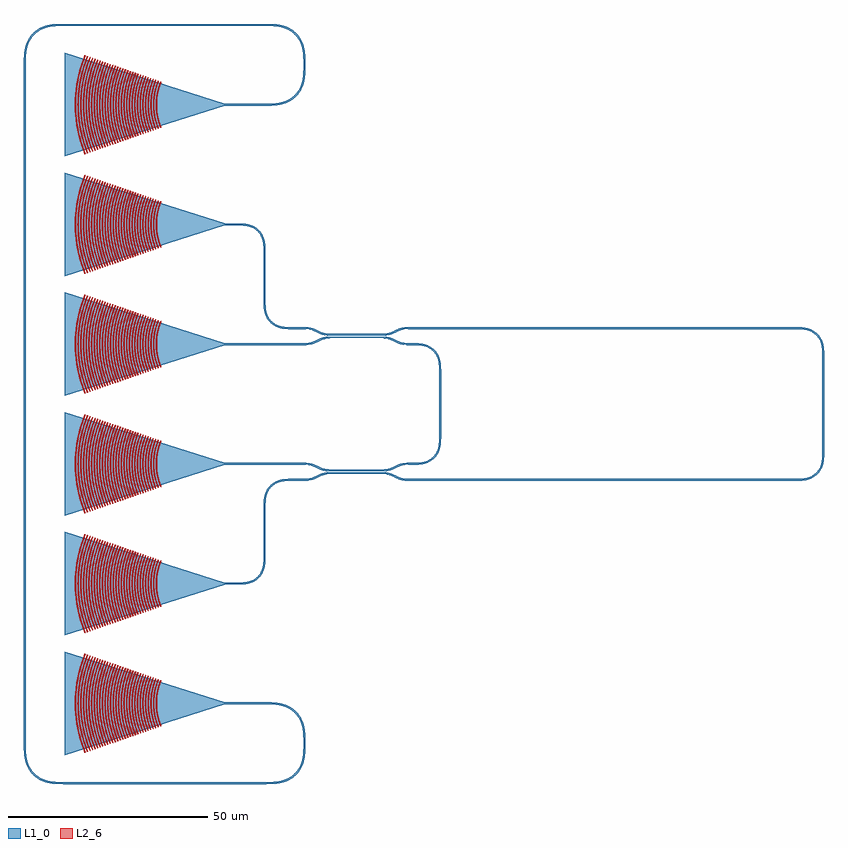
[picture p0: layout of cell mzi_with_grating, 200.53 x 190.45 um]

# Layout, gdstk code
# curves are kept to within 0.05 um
from math import pi, radians
import gdstk
lib = gdstk.Library(unit=1e-6, precision=1e-09)
def R(c, l, rs):  # rectangles x0, y0, x1, y1
    for r in rs: c.add(gdstk.rectangle(r[:2], r[2:], *l))
def P(c, l, *ps):  # polygons
    for p in ps: c.add(gdstk.Polygon(p, *l))
L1_0 = (1, 0)
L2_6 = (2, 6)

coupler_gdsfactorypcompo = lib.new_cell('coupler_gdsfactorypcomponentspcouplerspcoupler_G0p25_L1_32f57605')
P(coupler_gdsfactorypcompo, L1_0, [(-6.5,-1.875),(-6.5,-1.425),(-5.547,-1.369),(-4.788,-1.221),(-4.107,-0.985),(-2.028,-0.053),(-1.171,0.143),(-0.2,0.223),(13.755,0.193),(14.477,0.089),(15.277,-0.136),(17.003,-0.94),(17.726,-1.204),(18.547,-1.369),(19.5,-1.425),(19.5,-1.875),(18.023,-1.739),(16.989,-1.423),(15.067,-0.539),(14.387,-0.352),(13.547,-0.242),(-0.19,-0.227),(-1.103,-0.302),(-1.894,-0.482),(-3.876,-1.376),(-4.738,-1.673),(-5.574,-1.826)],
  [(0,0.475),(-0.926,0.524),(-1.762,0.677),(-2.624,0.974),(-4.606,1.868),(-5.471,2.059),(-6.5,2.125),(-6.5,2.575),(-5.574,2.526),(-4.738,2.373),(-3.876,2.076),(-1.894,1.182),(-1.029,0.991),(0,0.925),(13.632,0.948),(14.387,1.052),(15.067,1.239),(16.876,2.076),(17.67,2.355),(18.574,2.526),(19.5,2.575),(19.5,2.125),(18.547,2.069),(17.726,1.904),(17.003,1.64),(15.277,0.836),(13.926,0.524),(13,0.475)])

unnamed_7 = lib.new_cell('Unnamed_7')
P(unnamed_7, L1_0, [(19.5,-31.875),(19.5,-31.425),(21.589,-31.411),(22.927,-31.287),(24.025,-31.002),(25.111,-30.434),(25.893,-29.748),(26.608,-28.727),(27.02,-27.635),(27.212,-26.508),(27.275,-24.765),(27.273,-8.144),(27.229,-6.983),(27.103,-6.036),(26.784,-4.951),(26.284,-4.039),(25.598,-3.257),(24.577,-2.542),(23.667,-2.18),(22.549,-1.959),(19.5,-1.875),(19.5,-1.425),(22.402,-1.49),(23.399,-1.647),(24.181,-1.876),(24.985,-2.253),(25.731,-2.775),(26.375,-3.419),(26.897,-4.165),(27.274,-4.969),(27.545,-5.949),(27.677,-6.947),(27.723,-8.14),(27.725,-24.765),(27.66,-26.552),(27.402,-27.943),(26.897,-29.135),(26.225,-30.052),(25.731,-30.525),(25.18,-30.929),(24.181,-31.424),(23.002,-31.731),(21.804,-31.853)])

unnamed_8 = lib.new_cell('Unnamed_8')
P(unnamed_8, L1_0, [(19.5,-35.875),(19.5,-35.425),(117.975,-35.393),(119.3,-35.214),(120.39,-34.85),(121.441,-34.18),(122.16,-33.429),(122.7,-32.54),(123.02,-31.635),(123.229,-30.317),(123.275,-28.765),(123.275,-4.535),(123.191,-2.601),(122.852,-1.125),(122.608,-0.573),(122.16,0.129),(121.749,0.599),(121.111,1.134),(120.39,1.55),(119.667,1.82),(118.358,2.062),(116.615,2.125),(19.5,2.125),(19.5,2.575),(117.605,2.561),(118.602,2.488),(119.597,2.306),(120.372,2.049),(121.18,1.629),(121.902,1.075),(122.518,0.403),(123.007,-0.365),(123.342,-1.162),(123.612,-2.348),(123.721,-3.942),(123.725,-28.765),(123.66,-30.552),(123.503,-31.549),(123.274,-32.331),(122.897,-33.135),(122.518,-33.703),(121.902,-34.375),(121.369,-34.802),(120.785,-35.157),(119.988,-35.492),(118.602,-35.788),(116.615,-35.875)])

folded_mzi_dc_length_13 = lib.new_cell('folded_mzi_dc_length_13')
folded_mzi_dc_length_13.add(gdstk.Reference(coupler_gdsfactorypcompo, (0,0)))
folded_mzi_dc_length_13.add(gdstk.Reference(unnamed_7, (0,0)))
folded_mzi_dc_length_13.add(gdstk.Reference(coupler_gdsfactorypcompo, (0,-34)))
folded_mzi_dc_length_13.add(gdstk.Reference(unnamed_8, (0,0)))

grating_coupler_elliptic = lib.new_cell('grating_coupler_elliptical_trenches_gdsfactorypcomponen_c91c3207')
P(grating_coupler_elliptic, L1_0, [(40.551,-12.973),(0.471,-0.25),(0.471,0.25),(40.551,12.973)])
P(grating_coupler_elliptic, L2_6, [(16.414,-5.811),(16.3,-5.646),(16.82,-4.153),(17.178,-2.617),(17.351,-1.313),(17.409,0),(17.351,1.313),(17.178,2.617),(16.82,4.153),(16.3,5.646),(16.414,5.811),(16.61,5.77),(16.981,4.76),(17.344,3.465),(17.658,1.611),(17.743,0),(17.658,-1.611),(17.344,-3.465),(16.981,-4.76),(16.61,-5.77)],
  [(17.047,-6.03),(16.933,-5.866),(17.473,-4.315),(17.845,-2.718),(18.025,-1.364),(18.085,0),(18.025,1.364),(17.845,2.718),(17.473,4.315),(16.933,5.866),(17.047,6.03),(17.243,5.988),(17.444,5.469),(17.793,4.407),(18.066,3.325),(18.33,1.671),(18.419,0),(18.33,-1.671),(18.066,-3.325),(17.793,-4.407),(17.444,-5.469),(17.243,-5.988)],
  [(17.68,-6.25),(17.566,-6.086),(18.126,-4.477),(18.512,-2.82),(18.699,-1.415),(18.761,0),(18.699,1.415),(18.512,2.82),(18.126,4.477),(17.566,6.086),(17.68,6.25),(17.876,6.208),(17.982,5.94),(18.363,4.846),(18.665,3.729),(19.003,1.733),(19.095,0),(19.003,-1.733),(18.665,-3.729),(18.363,-4.846),(17.982,-5.94),(17.876,-6.208)],
  [(18.313,-6.469),(18.199,-6.304),(18.779,-4.638),(19.179,-2.922),(19.373,-1.466),(19.437,0),(19.373,1.466),(19.179,2.922),(18.779,4.638),(18.199,6.304),(18.313,6.469),(18.509,6.428),(18.619,6.15),(19.013,5.018),(19.326,3.861),(19.676,1.794),(19.771,0),(19.676,-1.794),(19.326,-3.861),(19.013,-5.018),(18.619,-6.15),(18.509,-6.428)],
  [(18.946,-6.689),(18.832,-6.525),(19.432,-4.8),(19.846,-3.024),(20.046,-1.517),(20.113,0),(20.046,1.517),(19.846,3.024),(19.432,4.8),(18.832,6.525),(18.946,6.689),(19.142,6.647),(19.365,6.07),(19.752,4.892),(20.055,3.69),(20.349,1.855),(20.447,0),(20.349,-1.855),(20.055,-3.69),(19.752,-4.892),(19.365,-6.07),(19.142,-6.647)],
  [(19.579,-6.908),(19.465,-6.744),(20.085,-4.961),(20.513,-3.125),(20.72,-1.568),(20.789,0),(20.72,1.568),(20.513,3.125),(20.085,4.961),(19.465,6.744),(19.579,6.908),(19.775,6.866),(20.005,6.27),(20.405,5.053),(20.718,3.812),(21.021,1.917),(21.123,0),(21.021,-1.917),(20.718,-3.812),(20.405,-5.053),(20.005,-6.27),(19.775,-6.866)],
  [(20.212,-7.128),(20.098,-6.964),(20.738,-5.123),(21.18,-3.227),(21.394,-1.619),(21.465,0),(21.394,1.619),(21.18,3.227),(20.738,5.123),(20.098,6.964),(20.212,7.128),(20.408,7.086),(20.646,6.471),(21.058,5.215),(21.381,3.934),(21.694,1.978),(21.799,0),(21.694,-1.978),(21.381,-3.934),(21.058,-5.215),(20.646,-6.471),(20.408,-7.086)],
  [(20.844,-7.347),(20.73,-7.182),(21.391,-5.284),(21.847,-3.329),(22.068,-1.67),(22.141,0),(22.068,1.67),(21.847,3.329),(21.391,5.284),(20.73,7.182),(20.844,7.347),(21.04,7.306),(21.286,6.672),(21.711,5.376),(22.044,4.056),(22.367,2.039),(22.475,0),(22.367,-2.039),(22.044,-4.056),(21.711,-5.376),(21.286,-6.672),(21.04,-7.306)],
  [(21.477,-7.567),(21.363,-7.402),(22.044,-5.446),(22.514,-3.431),(22.741,-1.721),(22.817,0),(22.741,1.721),(22.514,3.431),(22.044,5.446),(21.363,7.402),(21.477,7.567),(21.673,7.526),(21.926,6.871),(22.364,5.538),(22.707,4.177),(23.04,2.1),(23.151,0),(23.04,-2.1),(22.707,-4.177),(22.364,-5.538),(21.926,-6.871),(21.673,-7.526)],
  [(22.11,-7.786),(21.996,-7.621),(22.697,-5.607),(23.181,-3.533),(23.415,-1.773),(23.493,0),(23.415,1.773),(23.181,3.533),(22.697,5.607),(21.996,7.621),(22.11,7.786),(22.306,7.745),(22.566,7.072),(23.017,5.699),(23.37,4.299),(23.712,2.161),(23.827,0),(23.712,-2.161),(23.37,-4.299),(23.017,-5.699),(22.566,-7.072),(22.306,-7.745)],
  [(22.743,-8.006),(22.629,-7.842),(23.35,-5.769),(23.848,-3.634),(24.089,-1.824),(24.169,0),(24.089,1.824),(23.848,3.634),(23.35,5.769),(22.629,7.842),(22.743,8.006),(22.939,7.964),(23.207,7.273),(23.67,5.861),(24.033,4.421),(24.385,2.223),(24.503,0),(24.385,-2.223),(24.033,-4.421),(23.67,-5.861),(23.207,-7.273),(22.939,-7.964)],
  [(23.376,-8.225),(23.262,-8.06),(24.003,-5.93),(24.515,-3.736),(24.763,-1.875),(24.845,0),(24.763,1.875),(24.515,3.736),(24.003,5.93),(23.262,8.06),(23.376,8.225),(23.572,8.184),(23.847,7.474),(24.323,6.022),(24.696,4.543),(25.058,2.284),(25.179,0),(25.058,-2.284),(24.696,-4.543),(24.323,-6.022),(23.847,-7.474),(23.572,-8.184)],
  [(24.009,-8.445),(23.895,-8.28),(24.657,-6.092),(25.182,-3.838),(25.436,-1.926),(25.521,0),(25.436,1.926),(25.182,3.838),(24.657,6.092),(23.895,8.28),(24.009,8.445),(24.205,8.404),(24.619,7.305),(24.977,6.184),(25.359,4.665),(25.731,2.346),(25.855,0),(25.731,-2.346),(25.359,-4.665),(24.977,-6.184),(24.619,-7.305),(24.205,-8.404)],
  [(24.642,-8.664),(24.528,-8.499),(25.31,-6.253),(25.849,-3.94),(26.11,-1.977),(26.197,0),(26.11,1.977),(25.849,3.94),(25.31,6.253),(24.528,8.499),(24.642,8.664),(24.838,8.623),(25.263,7.496),(25.63,6.345),(26.022,4.787),(26.404,2.407),(26.531,0),(26.404,-2.407),(26.022,-4.787),(25.63,-6.345),(25.263,-7.496),(24.838,-8.623)],
  [(25.275,-8.884),(25.161,-8.72),(25.963,-6.415),(26.516,-4.041),(26.784,-2.028),(26.873,0),(26.784,2.028),(26.516,4.041),(25.963,6.415),(25.161,8.72),(25.275,8.884),(25.471,8.842),(25.907,7.686),(26.283,6.507),(26.686,4.908),(27.076,2.468),(27.207,0),(27.076,-2.468),(26.686,-4.908),(26.283,-6.507),(25.907,-7.686),(25.471,-8.842)],
  [(25.908,-9.103),(25.794,-8.939),(26.237,-7.767),(26.616,-6.576),(26.932,-5.367),(27.183,-4.143),(27.458,-2.079),(27.549,0),(27.458,2.079),(27.183,4.143),(26.932,5.367),(26.616,6.576),(26.237,7.767),(25.794,8.939),(25.908,9.103),(26.104,9.061),(26.551,7.877),(26.936,6.668),(27.349,5.03),(27.749,2.529),(27.849,1.266),(27.883,0),(27.849,-1.266),(27.749,-2.529),(27.349,-5.03),(26.936,-6.668),(26.551,-7.877),(26.104,-9.061)],
  [(26.54,-9.323),(26.426,-9.158),(26.88,-7.958),(27.269,-6.738),(27.593,-5.498),(27.85,-4.245),(28.131,-2.13),(28.225,0),(28.131,2.13),(27.85,4.245),(27.593,5.498),(27.269,6.738),(26.88,7.958),(26.426,9.158),(26.54,9.323),(26.736,9.282),(27.194,8.068),(27.706,6.413),(28.012,5.152),(28.25,3.876),(28.422,2.59),(28.524,1.297),(28.559,0),(28.524,-1.297),(28.422,-2.59),(28.25,-3.876),(28.012,-5.152),(27.706,-6.413),(27.194,-8.068),(26.736,-9.282)],
  [(27.173,-9.542),(27.059,-9.377),(27.524,-8.149),(27.922,-6.9),(28.254,-5.63),(28.517,-4.347),(28.805,-2.181),(28.901,0),(28.805,2.181),(28.517,4.347),(28.254,5.63),(27.922,6.9),(27.524,8.149),(27.059,9.377),(27.173,9.542),(27.369,9.501),(27.838,8.259),(28.362,6.565),(28.675,5.274),(28.919,3.968),(29.095,2.652),(29.199,1.328),(29.235,0),(29.199,-1.328),(29.095,-2.652),(28.919,-3.968),(28.675,-5.274),(28.362,-6.565),(27.838,-8.259),(27.369,-9.501)],
  [(27.806,-9.762),(27.692,-9.597),(28.168,-8.339),(28.575,-7.061),(28.914,-5.762),(29.184,-4.448),(29.479,-2.232),(29.577,0),(29.479,2.232),(29.184,4.448),(28.914,5.762),(28.575,7.061),(28.168,8.339),(27.692,9.597),(27.806,9.762),(28.002,9.721),(28.482,8.449),(28.895,7.153),(29.338,5.396),(29.587,4.06),(29.767,2.713),(29.874,1.358),(29.911,0),(29.874,-1.358),(29.767,-2.713),(29.587,-4.06),(29.338,-5.396),(28.895,-7.153),(28.482,-8.449),(28.002,-9.721)],
  [(28.439,-9.981),(28.325,-9.816),(28.812,-8.53),(29.228,-7.223),(29.575,-5.894),(29.851,-4.55),(30.153,-2.283),(30.253,0),(30.153,2.283),(29.851,4.55),(29.575,5.894),(29.228,7.223),(28.812,8.53),(28.325,9.816),(28.439,9.981),(28.635,9.94),(29.126,8.64),(29.548,7.315),(30.001,5.518),(30.256,4.151),(30.44,2.774),(30.549,1.389),(30.587,0),(30.549,-1.389),(30.44,-2.774),(30.256,-4.151),(30.001,-5.518),(29.673,-6.869),(29.126,-8.64),(28.635,-9.94)],
  [(29.072,-10.201),(28.958,-10.037),(29.455,-8.721),(29.881,-7.384),(30.236,-6.026),(30.518,-4.652),(30.826,-2.334),(30.929,0),(30.826,2.334),(30.518,4.652),(30.236,6.026),(29.881,7.384),(29.455,8.721),(28.958,10.037),(29.072,10.201),(29.268,10.159),(29.769,8.831),(30.329,7.02),(30.664,5.639),(30.925,4.243),(31.113,2.836),(31.225,1.42),(31.263,0),(31.225,-1.42),(31.113,-2.836),(30.925,-4.243),(30.664,-5.639),(30.329,-7.02),(29.769,-8.831),(29.268,-10.159)],
  [(29.705,-10.42),(29.591,-10.255),(30.099,-8.912),(30.534,-7.546),(30.897,-6.158),(31.185,-4.754),(31.5,-2.385),(31.605,0),(31.5,2.385),(31.185,4.754),(30.897,6.158),(30.534,7.546),(30.099,8.912),(29.591,10.255),(29.705,10.42),(29.901,10.379),(30.413,9.022),(30.985,7.172),(31.327,5.761),(31.593,4.335),(31.786,2.896),(31.9,1.45),(31.939,0),(31.9,-1.45),(31.786,-2.896),(31.593,-4.335),(31.327,-5.761),(30.985,-7.172),(30.413,-9.022),(29.901,-10.379)],
  [(30.338,-10.64),(30.224,-10.475),(30.743,-9.103),(31.187,-7.707),(31.558,-6.289),(31.852,-4.855),(32.174,-2.437),(32.281,0),(32.174,2.437),(31.852,4.855),(31.558,6.289),(31.187,7.707),(30.743,9.103),(30.224,10.475),(30.338,10.64),(30.534,10.599),(31.057,9.213),(31.641,7.324),(31.99,5.883),(32.262,4.426),(32.458,2.958),(32.575,1.481),(32.615,0),(32.575,-1.481),(32.458,-2.958),(32.262,-4.426),(31.99,-5.883),(31.641,-7.324),(31.057,-9.213),(30.534,-10.599)],
  [(30.971,-10.859),(30.857,-10.695),(31.387,-9.293),(31.84,-7.869),(32.219,-6.421),(32.519,-4.957),(32.848,-2.488),(32.957,0),(32.848,2.488),(32.519,4.957),(32.219,6.421),(31.84,7.869),(31.387,9.293),(30.857,10.695),(30.971,10.859),(31.167,10.817),(31.701,9.403),(32.297,7.476),(32.653,6.005),(32.931,4.518),(33.131,3.019),(33.25,1.512),(33.291,0),(33.25,-1.512),(33.131,-3.019),(32.931,-4.518),(32.653,-6.005),(32.297,-7.476),(31.701,-9.403),(31.167,-10.817)],
  [(31.604,-11.079),(31.49,-10.915),(32.03,-9.484),(32.493,-8.03),(32.879,-6.553),(33.186,-5.059),(33.521,-2.539),(33.633,0),(33.521,2.539),(33.186,5.059),(32.879,6.553),(32.493,8.03),(32.03,9.484),(31.49,10.915),(31.604,11.079),(31.8,11.037),(32.344,9.594),(32.952,7.627),(33.316,6.127),(33.6,4.61),(33.804,3.081),(33.925,1.542),(33.967,0),(33.925,-1.542),(33.804,-3.081),(33.6,-4.61),(33.316,-6.127),(32.952,-7.627),(32.344,-9.594),(31.8,-11.037)],
  [(32.237,-11.298),(32.123,-11.133),(32.674,-9.675),(33.146,-8.192),(33.54,-6.685),(33.853,-5.161),(34.195,-2.59),(34.309,0),(34.195,2.59),(33.853,5.161),(33.54,6.685),(33.146,8.192),(32.674,9.675),(32.123,11.133),(32.237,11.298),(32.433,11.257),(32.988,9.785),(33.608,7.779),(33.979,6.249),(34.268,4.701),(34.477,3.142),(34.601,1.573),(34.643,0),(34.601,-1.573),(34.477,-3.142),(34.268,-4.701),(33.979,-6.249),(33.608,-7.779),(32.988,-9.785),(32.433,-11.257)],
  [(32.869,-11.518),(32.755,-11.353),(33.318,-9.866),(33.799,-8.353),(34.201,-6.817),(34.52,-5.262),(34.869,-2.641),(34.985,0),(34.869,2.641),(34.52,5.262),(34.201,6.817),(33.799,8.353),(33.318,9.866),(32.755,11.353),(32.869,11.518),(33.065,11.477),(33.632,9.976),(34.264,7.931),(34.642,6.37),(34.937,4.793),(35.149,3.203),(35.276,1.604),(35.319,0),(35.276,-1.604),(35.149,-3.203),(34.937,-4.793),(34.642,-6.37),(34.264,-7.931),(33.632,-9.976),(33.065,-11.477)],
  [(33.502,-11.738),(33.388,-11.573),(33.962,-10.056),(34.453,-8.515),(34.862,-6.949),(35.187,-5.364),(35.543,-2.692),(35.661,0),(35.543,2.692),(35.187,5.364),(34.862,6.949),(34.453,8.515),(33.962,10.056),(33.388,11.573),(33.502,11.738),(33.698,11.697),(34.276,10.166),(34.773,8.607),(35.305,6.492),(35.606,4.885),(35.822,3.264),(35.951,1.634),(35.995,0),(35.951,-1.634),(35.822,-3.264),(35.606,-4.885),(35.305,-6.492),(34.773,-8.607),(34.276,-10.166),(33.698,-11.697)],
  [(34.135,-11.957),(34.021,-11.792),(34.605,-10.247),(35.106,-8.676),(35.523,-7.08),(35.854,-5.466),(36.216,-2.743),(36.337,0),(36.216,2.743),(35.854,5.466),(35.523,7.08),(35.106,8.676),(34.605,10.247),(34.021,11.792),(34.135,11.957),(34.331,11.916),(34.919,10.357),(35.576,8.233),(35.968,6.614),(36.274,4.976),(36.495,3.325),(36.626,1.665),(36.671,0),(36.626,-1.665),(36.495,-3.325),(36.274,-4.976),(35.968,-6.614),(35.576,-8.233),(34.919,-10.357),(34.331,-11.916)],
  [(34.768,-12.177),(34.654,-12.013),(35.249,-10.438),(35.759,-8.838),(36.183,-7.212),(36.521,-5.568),(36.89,-2.794),(37.013,0),(36.89,2.794),(36.521,5.568),(36.183,7.212),(35.759,8.838),(35.249,10.438),(34.654,12.013),(34.768,12.177),(34.964,12.135),(35.563,10.548),(36.232,8.385),(36.631,6.736),(36.943,5.068),(37.168,3.387),(37.301,1.696),(37.347,0),(37.301,-1.696),(37.168,-3.387),(36.943,-5.068),(36.631,-6.736),(36.232,-8.385),(35.563,-10.548),(34.964,-12.135)],
  [(35.401,-12.396),(35.287,-12.231),(35.893,-10.629),(36.412,-8.999),(36.844,-7.344),(37.188,-5.669),(37.564,-2.845),(37.689,0),(37.564,2.845),(37.188,5.669),(36.844,7.344),(36.412,8.999),(35.893,10.629),(35.287,12.231),(35.401,12.396),(35.597,12.355),(36.207,10.739),(36.732,9.091),(37.295,6.858),(37.612,5.16),(37.84,3.448),(37.977,1.726),(38.023,0),(37.977,-1.726),(37.84,-3.448),(37.612,-5.16),(37.295,-6.858),(36.732,-9.091),(36.207,-10.739),(35.597,-12.355)])

taper_gdsfactorypcompone = lib.new_cell('taper_gdsfactorypcomponentsptapersptaper_L10_W0p5_W0p45_6414caa8')
P(taper_gdsfactorypcompone, L1_0, [(0,-0.25),(0,0.25),(10,0.225),(10,-0.225)])

bend_euler_gdsfactorypco = lib.new_cell('bend_euler_gdsfactorypcomponentspbendspbend_euler_R10_A_332164ec')
P(bend_euler_gdsfactorypco, L1_0, [(0,-0.225),(0,0.225),(1.656,0.244),(3.019,0.344),(4.09,0.525),(4.998,0.782),(5.742,1.091),(6.444,1.484),(7.592,2.408),(8.516,3.556),(8.909,4.258),(9.218,5.002),(9.475,5.91),(9.656,6.981),(9.756,8.344),(9.775,10),(10.225,10),(10.133,7.208),(9.999,6.229),(9.773,5.261),(9.434,4.322),(9.044,3.557),(8.568,2.844),(7.911,2.089),(7.156,1.432),(6.443,0.956),(5.678,0.566),(4.739,0.227),(3.771,0.001),(2.792,-0.133)])

straight_gdsfactorypcomp = lib.new_cell('straight_gdsfactorypcomponentspwaveguidespstraight_L50p_217b1e09')
R(straight_gdsfactorypcomp, L1_0, [(0,-0.225,50.08,0.225)])

c_straight_gdsfactorypcomp = lib.new_cell('straight_gdsfactorypcomponentspwaveguidespstraight_L170_641e8bda')
R(c_straight_gdsfactorypcomp, L1_0, [(0,-0.225,170,0.225)])

grating_coupler_array_gd = lib.new_cell('grating_coupler_array_gdsfactorypcomponentspgrating_cou_2fd37b3f')
grating_coupler_array_gd.add(gdstk.Reference(grating_coupler_elliptic, (-75,0), rotation=3*pi/2))
grating_coupler_array_gd.add(gdstk.Reference(grating_coupler_elliptic, (-45,0), rotation=3*pi/2))
grating_coupler_array_gd.add(gdstk.Reference(grating_coupler_elliptic, (-15,0), rotation=3*pi/2))
grating_coupler_array_gd.add(gdstk.Reference(grating_coupler_elliptic, (15,0), rotation=3*pi/2))
grating_coupler_array_gd.add(gdstk.Reference(grating_coupler_elliptic, (45,0), rotation=3*pi/2))
grating_coupler_array_gd.add(gdstk.Reference(grating_coupler_elliptic, (75,0), rotation=3*pi/2))
grating_coupler_array_gd.add(gdstk.Reference(taper_gdsfactorypcompone, (-75,-0.471), rotation=pi/2))
grating_coupler_array_gd.add(gdstk.Reference(taper_gdsfactorypcompone, (75,-0.471), rotation=pi/2))
grating_coupler_array_gd.add(gdstk.Reference(bend_euler_gdsfactorypco, (-85,19.529), x_reflection=True))
grating_coupler_array_gd.add(gdstk.Reference(bend_euler_gdsfactorypco, (-95,9.529), rotation=pi/2, x_reflection=True))
grating_coupler_array_gd.add(gdstk.Reference(bend_euler_gdsfactorypco, (-85,-50.551), rotation=pi, x_reflection=True))
grating_coupler_array_gd.add(gdstk.Reference(straight_gdsfactorypcomp, (-95,9.529), rotation=3*pi/2))
grating_coupler_array_gd.add(gdstk.Reference(bend_euler_gdsfactorypco, (95,-40.551), rotation=3*pi/2, x_reflection=True))
grating_coupler_array_gd.add(gdstk.Reference(c_straight_gdsfactorypcomp, (-85,-50.551)))
grating_coupler_array_gd.add(gdstk.Reference(bend_euler_gdsfactorypco, (85,19.529), x_reflection=True))
grating_coupler_array_gd.add(gdstk.Reference(straight_gdsfactorypcomp, (95,-40.551), rotation=pi/2))
grating_coupler_array_gd.add(gdstk.Reference(bend_euler_gdsfactorypco, (75,9.529), rotation=pi/2, x_reflection=True))

unnamed_17 = lib.new_cell('Unnamed_17')
P(unnamed_17, L1_0, [(-9.615,2.125),(-11.003,2.158),(-12.201,2.305),(-13.181,2.576),(-13.985,2.953),(-14.731,3.475),(-15.375,4.119),(-15.897,4.865),(-16.342,5.862),(-16.612,7.048),(-16.717,8.444),(-16.757,22.825),(-16.863,23.777),(-17.03,24.517),(-17.3,25.24),(-17.601,25.788),(-18.107,26.448),(-18.721,27.01),(-19.423,27.458),(-20.153,27.764),(-21.073,27.987),(-22.025,28.093),(-26.5,28.125),(-26.5,28.575),(-22.196,28.553),(-21.198,28.462),(-20.403,28.306),(-19.42,27.958),(-18.631,27.502),(-17.933,26.917),(-17.221,26.03),(-16.892,25.43),(-16.598,24.643),(-16.419,23.852),(-16.308,22.853),(-16.267,8.455),(-16.166,7.112),(-15.914,6.003),(-15.399,4.912),(-14.749,4.101),(-13.938,3.451),(-13.025,2.998),(-12.114,2.747),(-10.975,2.607),(-6.5,2.575),(-6.5,2.125)])

unnamed_18 = lib.new_cell('Unnamed_18')
R(unnamed_18, L1_0, [(-26.5,-1.875,-6.5,-1.425)])

unnamed_19 = lib.new_cell('Unnamed_19')
R(unnamed_19, L1_0, [(-26.5,-31.875,-6.5,-31.425)])

unnamed_20 = lib.new_cell('Unnamed_20')
P(unnamed_20, L1_0, [(-26.5,-61.875),(-26.5,-61.425),(-22.025,-61.393),(-20.886,-61.253),(-19.975,-61.002),(-19.062,-60.549),(-18.402,-60.043),(-17.716,-59.261),(-17.3,-58.54),(-16.897,-57.264),(-16.739,-55.739),(-16.677,-40.947),(-16.545,-39.949),(-16.342,-39.162),(-16.007,-38.365),(-15.518,-37.597),(-14.902,-36.925),(-14.18,-36.371),(-13.372,-35.951),(-12.597,-35.694),(-11.802,-35.538),(-10.804,-35.447),(-6.5,-35.425),(-6.5,-35.875),(-10.975,-35.907),(-12.114,-36.047),(-13.025,-36.298),(-13.938,-36.751),(-14.598,-37.257),(-15.284,-38.039),(-15.7,-38.76),(-16.103,-40.036),(-16.261,-41.561),(-16.323,-56.353),(-16.455,-57.351),(-16.658,-58.138),(-16.993,-58.935),(-17.482,-59.703),(-18.098,-60.375),(-18.82,-60.929),(-19.628,-61.349),(-20.403,-61.606),(-21.198,-61.762),(-22.196,-61.853)])

mzi_with_grating = lib.new_cell('mzi_with_grating')
mzi_with_grating.add(gdstk.Reference(folded_mzi_dc_length_13, (0,0)))
mzi_with_grating.add(gdstk.Reference(grating_coupler_array_gd, (-26.029,-16.65), rotation=3*pi/2))
mzi_with_grating.add(gdstk.Reference(unnamed_17, (0,0)))
mzi_with_grating.add(gdstk.Reference(unnamed_18, (0,0)))
mzi_with_grating.add(gdstk.Reference(unnamed_19, (0,0)))
mzi_with_grating.add(gdstk.Reference(unnamed_20, (0,0)))

lib.write_gds('mzi_with_grating.gds')
